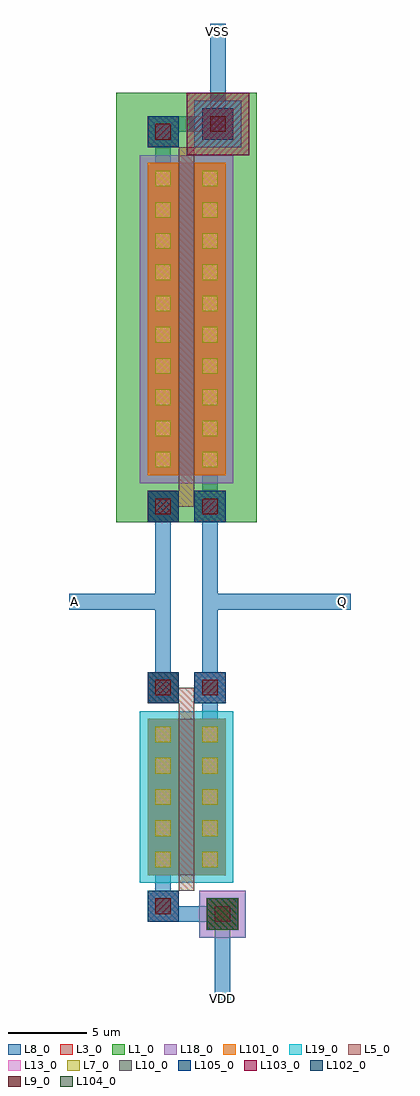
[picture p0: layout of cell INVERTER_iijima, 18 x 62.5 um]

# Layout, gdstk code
import gdstk
lib = gdstk.Library(unit=1e-6, precision=1e-07)
def R(c, l, rs):  # rectangles x0, y0, x1, y1
    for r in rs: c.add(gdstk.rectangle(r[:2], r[2:], *l))
L1_0 = (1, 0)
L3_0 = (3, 0)
L5_0 = (5, 0)
L7_0 = (7, 0)
L8_0 = (8, 0)
L9_0 = (9, 0)
L10_0 = (10, 0)
L13_0 = (13, 0)
L18_0 = (18, 0)
L19_0 = (19, 0)
L101_0 = (101, 0)
L102_0 = (102, 0)
L103_0 = (103, 0)
L104_0 = (104, 0)
L105_0 = (105, 0)

dcont = lib.new_cell('dcont')
R(dcont, L3_0, [(-1,-1,1,1)])
R(dcont, L7_0, [(-0.5,-0.5,0.5,0.5)])
R(dcont, L8_0, [(-1,-1,1,1)])
R(dcont, L13_0, [(-0.5,-0.5,0.5,0.5)])
R(dcont, L101_0, [(-1,-1,1,1)])

pcont = lib.new_cell('pcont')
R(pcont, L5_0, [(-1,-1,1,1)])
R(pcont, L7_0, [(-0.5,-0.5,0.5,0.5)])
R(pcont, L8_0, [(-1,-1,1,1)])
R(pcont, L13_0, [(-0.5,-0.5,0.5,0.5)])
R(pcont, L102_0, [(-1,-1,1,1)])

via = lib.new_cell('Via')
R(via, L8_0, [(-1,-1,1,1)])
R(via, L9_0, [(-0.5,-0.5,0.5,0.5)])
R(via, L10_0, [(-1,-1,1,1)])
R(via, L13_0, [(-0.5,-0.5,0.5,0.5)])
R(via, L105_0, [(-1,-1,1,1)])

dcont1 = lib.new_cell('dcont1')
R(dcont1, L3_0, [(-1,-1,1,1)])
R(dcont1, L7_0, [(-0.5,-0.5,0.5,0.5)])
R(dcont1, L8_0, [(-1,-1,1,1)])
R(dcont1, L13_0, [(-0.5,-0.5,0.5,0.5)])
R(dcont1, L101_0, [(-1,-1,1,1)])

psubcont = lib.new_cell('psubcont')
R(psubcont, L18_0, [(-1.5,-1.5,1.5,1.5)])
R(psubcont, L104_0, [(-1,-1,1,1)])
psubcont.add(gdstk.Reference(dcont1, (0,0)))

nch = lib.new_cell('Nch')
R(nch, L3_0, [(0,3,5,13)])
R(nch, L19_0, [(-0.5,2.5,5.5,13.5)])
nch.add(gdstk.FlexPath([(1,3),(1,13)], 2, ends="flush", simple_path=True, layer=8, datatype=0))  # L8_0
nch.add(gdstk.FlexPath([(4,3),(4,13)], 2, ends="flush", simple_path=True, layer=8, datatype=0))  # L8_0
nch.add(gdstk.FlexPath([(1,1),(1,4)], 1, ends="flush", simple_path=True, layer=8, datatype=0))  # L8_0
nch.add(gdstk.FlexPath([(4,12),(4,15)], 1, ends="flush", simple_path=True, layer=8, datatype=0))  # L8_0
nch.add(gdstk.FlexPath([(2.5,3),(2.5,13)], 1, ends=(1, 1), simple_path=True, layer=5, datatype=0))  # L5_0
nch.add(gdstk.FlexPath([(1,14.5),(2.5,14.5),(2.5,14)], 1, ends="flush", simple_path=True, layer=5, datatype=0))  # L5_0
nch.add(gdstk.Reference(dcont, (1,4)))
nch.add(gdstk.Reference(dcont, (1,6)))
nch.add(gdstk.Reference(dcont, (1,8)))
nch.add(gdstk.Reference(dcont, (1,10)))
nch.add(gdstk.Reference(dcont, (1,12)))
nch.add(gdstk.Reference(dcont, (4,4)))
nch.add(gdstk.Reference(dcont, (4,6)))
nch.add(gdstk.Reference(dcont, (4,8)))
nch.add(gdstk.Reference(dcont, (4,10)))
nch.add(gdstk.Reference(dcont, (4,12)))
nch.add(gdstk.Reference(pcont, (1,15)))
nch.add(gdstk.Reference(via, (1,15)))
nch.add(gdstk.Reference(via, (1,1)))
nch.add(gdstk.Reference(via, (4,15)))
nch.add(gdstk.Reference(psubcont, (4.8,0.5)))
nch.add(gdstk.Reference(via, (4.8,0.5)))

nsubcont = lib.new_cell('nsubcont')
R(nsubcont, L1_0, [(-2,-2,2,2)])
R(nsubcont, L19_0, [(-1.5,-1.5,1.5,1.5)])
R(nsubcont, L103_0, [(-2,-2,2,2)])
nsubcont.add(gdstk.Reference(dcont1, (0,0)))

pch_1 = lib.new_cell('Pch$1')
R(pch_1, L1_0, [(-2,0,7,27.5)])
R(pch_1, L3_0, [(0,3,5,23)])
R(pch_1, L18_0, [(-0.5,2.5,5.5,23.5)])
pch_1.add(gdstk.FlexPath([(1,3),(1,23)], 2, ends="flush", simple_path=True, layer=8, datatype=0))  # L8_0
pch_1.add(gdstk.FlexPath([(4,3),(4,23)], 2, ends="flush", simple_path=True, layer=8, datatype=0))  # L8_0
pch_1.add(gdstk.FlexPath([(1,22),(1,25)], 1, ends="flush", simple_path=True, layer=8, datatype=0))  # L8_0
pch_1.add(gdstk.FlexPath([(4,1),(4,4)], 1, ends="flush", simple_path=True, layer=8, datatype=0))  # L8_0
pch_1.add(gdstk.FlexPath([(2.5,3),(2.5,23)], 1, ends=(1, 1), simple_path=True, layer=5, datatype=0))  # L5_0
pch_1.add(gdstk.FlexPath([(1,1.5),(2.5,1.5),(2.5,2)], 1, ends="flush", simple_path=True, layer=5, datatype=0))  # L5_0
pch_1.add(gdstk.Reference(dcont, (1,4)))
pch_1.add(gdstk.Reference(dcont, (1,6)))
pch_1.add(gdstk.Reference(dcont, (1,8)))
pch_1.add(gdstk.Reference(dcont, (1,10)))
pch_1.add(gdstk.Reference(dcont, (1,12)))
pch_1.add(gdstk.Reference(dcont, (1,14)))
pch_1.add(gdstk.Reference(dcont, (1,16)))
pch_1.add(gdstk.Reference(dcont, (1,18)))
pch_1.add(gdstk.Reference(dcont, (1,20)))
pch_1.add(gdstk.Reference(dcont, (1,22)))
pch_1.add(gdstk.Reference(dcont, (4,4)))
pch_1.add(gdstk.Reference(dcont, (4,6)))
pch_1.add(gdstk.Reference(dcont, (4,8)))
pch_1.add(gdstk.Reference(dcont, (4,10)))
pch_1.add(gdstk.Reference(dcont, (4,12)))
pch_1.add(gdstk.Reference(dcont, (4,14)))
pch_1.add(gdstk.Reference(dcont, (4,16)))
pch_1.add(gdstk.Reference(dcont, (4,18)))
pch_1.add(gdstk.Reference(dcont, (4,20)))
pch_1.add(gdstk.Reference(dcont, (4,22)))
pch_1.add(gdstk.Reference(pcont, (1,1)))
pch_1.add(gdstk.Reference(via, (1,1)))
pch_1.add(gdstk.Reference(via, (1,25)))
pch_1.add(gdstk.Reference(via, (4,1)))
pch_1.add(gdstk.Reference(nsubcont, (4.5,25.5)))
pch_1.add(gdstk.Reference(via, (4.5,25.5)))

inverter_iijima = lib.new_cell('INVERTER_iijima')
inverter_iijima.add(gdstk.FlexPath([(-3,-16.9),(-3,-28.5),(-3,-28.5)], 1, ends="flush", simple_path=True, layer=8, datatype=0))  # L8_0
inverter_iijima.add(gdstk.FlexPath([(0,-16.9),(0,-28.5)], 1, ends="flush", simple_path=True, layer=8, datatype=0))  # L8_0
inverter_iijima.add(gdstk.FlexPath([(-3,7.1),(-3,7.6),(0.5,7.6),(0.5,7.6)], 1, ends="flush", simple_path=True, layer=8, datatype=0))  # L8_0
inverter_iijima.add(gdstk.FlexPath([(0.5,7.6),(0.5,14)], 1, ends="flush", simple_path=True, layer=8, datatype=0))  # L8_0
inverter_iijima.add(gdstk.FlexPath([(0,-23),(9,-23)], 1, ends="flush", simple_path=True, layer=8, datatype=0))  # L8_0
inverter_iijima.add(gdstk.FlexPath([(-3,-23),(-9,-23)], 1, ends="flush", simple_path=True, layer=8, datatype=0))  # L8_0
inverter_iijima.add(gdstk.FlexPath([(-3,-42.5),(-3,-43),(0.8,-43),(0.8,-43)], 1, ends="flush", simple_path=True, layer=8, datatype=0))  # L8_0
inverter_iijima.add(gdstk.FlexPath([(0.8,-43),(0.8,-48.5)], 1, ends="flush", simple_path=True, layer=8, datatype=0))  # L8_0
inverter_iijima.add(gdstk.Reference(nch, (-4,-43.5)))
inverter_iijima.add(gdstk.Reference(pch_1, (-4,-17.9)))
inverter_iijima.add(gdstk.Label('A', (-8.7,-23), layer=8, texttype=0))
inverter_iijima.add(gdstk.Label('Q', (8.5,-23), layer=8, texttype=0))
inverter_iijima.add(gdstk.Label('VDD', (0.8,-48.4), layer=8, texttype=0))
inverter_iijima.add(gdstk.Label('VSS', (0.5,13.5), layer=8, texttype=0))

lib.write_gds('INVERTER_iijima.gds')
